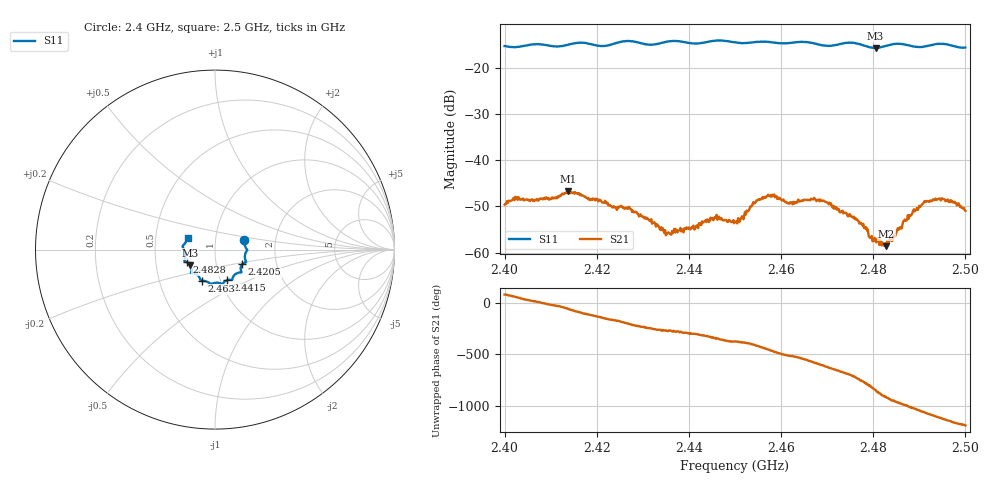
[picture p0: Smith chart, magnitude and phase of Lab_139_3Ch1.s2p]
# Hz S RI R 50
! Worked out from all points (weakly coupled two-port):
!   601 points, 2.4 GHz to 2.5 GHz, reference 50 ohm
!   highest |S21| = -46.75 dB at 2.4138 GHz (marker M1); lowest = -58.6 dB at 2.4828 GHz (marker M2)
!   lowest |S11| = -15.7 dB at 2.4805 GHz (marker M3), VSWR 1.39, Z = 37.3 - j6.67 ohm
!   |S11| at or under -10 dB: start of sweep to end of sweep
!   S12 and S22 are empty: the file has one direction only
!   S11 on the Smith chart (normalised r, x): 2.4 GHz: 1.38, +0.15; 2.4205 GHz: 1.34, -0.23; 2.4415 GHz: 1.07, -0.38; 2.463 GHz: 0.82, -0.29; 2.4828 GHz: 0.72, -0.10; 2.5 GHz: 0.73, +0.10
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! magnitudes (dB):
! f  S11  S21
! 2.4 GHz  -15.3  -49.6
! 2.4022 GHz  -15.5  -48.6
! 2.4138 GHz  -15.0  -46.7
! 2.4167 GHz  -14.6  -47.7
! 2.4205 GHz  -15.3  -48.7
! 2.427 GHz  -14.2  -50.1
! 2.4333 GHz  -14.8  -54.1
! 2.4355 GHz  -14.3  -55.6
! 2.4415 GHz  -14.8  -54.4
! 2.446 GHz  -14.1  -51.8
! 2.45 GHz  -14.5  -53.3
! 2.4543 GHz  -14.4  -49.3
! 2.457 GHz  -14.4  -47.8
! 2.463 GHz  -14.5  -49.0
! 2.4667 GHz  -14.6  -48.4
! 2.4753 GHz  -14.6  -52.2
! 2.4805 GHz  -15.7  -57.5
! 2.4828 GHz  -15.2  -58.6
! 2.4833 GHz  -15.1  -57.9
! 2.4913 GHz  -15.4  -49.0
! 2.4953 GHz  -14.8  -48.4
! 2.5 GHz  -15.6  -51.0
